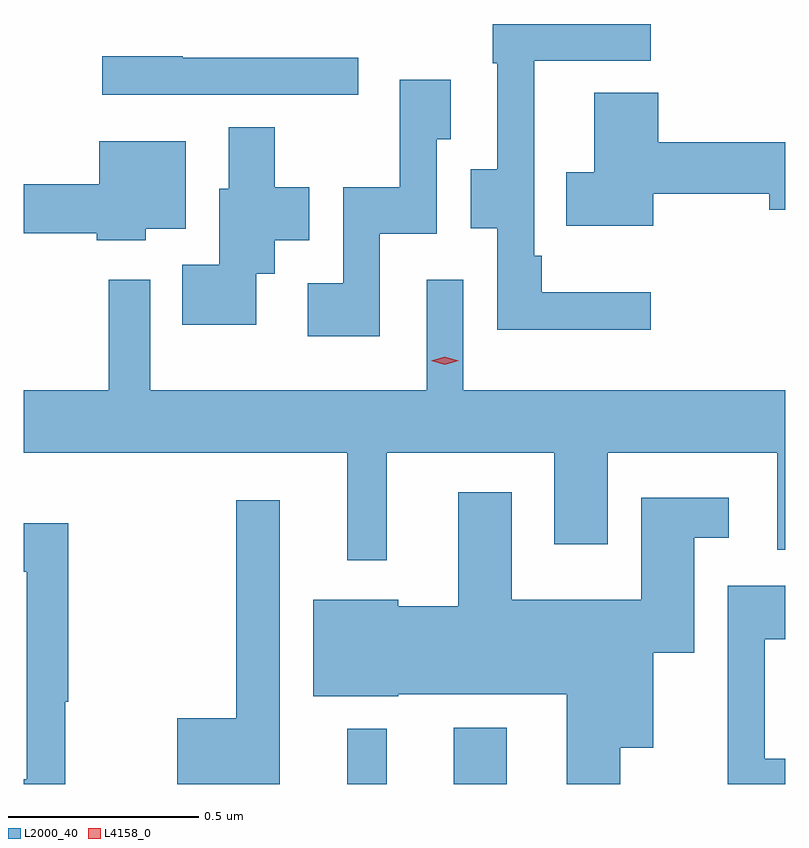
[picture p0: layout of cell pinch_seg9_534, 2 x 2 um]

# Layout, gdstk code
import gdstk
lib = gdstk.Library(unit=1e-6, precision=1e-09)
def R(c, l, rs):  # rectangles x0, y0, x1, y1
    for r in rs: c.add(gdstk.rectangle(r[:2], r[2:], *l))
def P(c, l, *ps):  # polygons
    for p in ps: c.add(gdstk.Polygon(p, *l))
L2000_40 = (2000, 40)
L4158_0 = (4158, 0)

pinch_seg9_534 = lib.new_cell('pinch_seg9_534')
R(pinch_seg9_534, L2000_40, [(366.701,1167.579,366.805,1167.724), (366.98,1167.579,367.12,1167.727)])
P(pinch_seg9_534, L2000_40, [(367.498,1168.87),(367.211,1168.87),(367.211,1168.966),(367.191,1168.966),(367.191,1169.281),(367.192,1169.281),(367.192,1169.478),(367.498,1169.478),(367.498,1169.574),(367.083,1169.574),(367.083,1169.471),(367.095,1169.471),(367.095,1169.193),(367.025,1169.193),(367.025,1169.038),(367.095,1169.038),(367.095,1168.772),(367.498,1168.772)],
  [(366.73,1169.486),(366.269,1169.486),(366.269,1169.489),(366.057,1169.489),(366.057,1169.388),(366.73,1169.388)],
  [(366.786,1169.024),(366.936,1169.024),(366.936,1169.272),(366.973,1169.272),(366.973,1169.428),(366.838,1169.428),(366.838,1169.146),(366.69,1169.146),(366.69,1168.894),(366.597,1168.894),(366.597,1168.754),(366.786,1168.754)],
  [(367.504,1169.128),(367.808,1169.128),(367.808,1169.086),(367.851,1169.086),(367.851,1169.264),(367.517,1169.264),(367.517,1169.393),(367.349,1169.393),(367.349,1169.185),(367.276,1169.185),(367.276,1169.045),(367.504,1169.045)],
  [(366.462,1168.919),(366.511,1168.919),(366.511,1169.006),(366.601,1169.006),(366.601,1169.146),(366.511,1169.146),(366.511,1169.303),(366.389,1169.303),(366.389,1169.142),(366.365,1169.142),(366.365,1168.942),(366.268,1168.942),(366.268,1168.784),(366.462,1168.784)],
  [(366.172,1169.036),(366.277,1169.036),(366.277,1169.266),(366.05,1169.266),(366.05,1169.153),(365.851,1169.153),(365.851,1169.025),(366.043,1169.025),(366.043,1169.006),(366.172,1169.006)],
  [(366.805,1168.448),(367.244,1168.448),(367.244,1168.209),(367.384,1168.209),(367.384,1168.448),(367.829,1168.448),(367.829,1168.194),(367.851,1168.194),(367.851,1168.612),(367.005,1168.612),(367.005,1168.903),(366.909,1168.903),(366.909,1168.612),(366.183,1168.612),(366.183,1168.903),(366.075,1168.903),(366.075,1168.612),(365.851,1168.612),(365.851,1168.448),(366.701,1168.448),(366.701,1168.167),(366.805,1168.167)],
  [(367.417,1167.674),(367.504,1167.674),(367.504,1167.923),(367.612,1167.923),(367.612,1168.226),(367.702,1168.226),(367.702,1168.33),(367.472,1168.33),(367.472,1168.063),(367.132,1168.063),(367.132,1168.345),(366.992,1168.345),(366.992,1168.045),(366.834,1168.045),(366.834,1168.063),(366.611,1168.063),(366.611,1167.809),(366.834,1167.809),(366.834,1167.815),(367.277,1167.815),(367.277,1167.579),(367.417,1167.579)],
  [(366.523,1168.324),(366.409,1168.324),(366.409,1167.751),(366.254,1167.751),(366.254,1167.579),(366.523,1167.579)],
  [(365.96,1167.795),(365.968,1167.795),(365.968,1168.264),(365.851,1168.264),(365.851,1168.136),(365.859,1168.136),(365.859,1167.592),(365.851,1167.592),(365.851,1167.579),(365.96,1167.579)],
  [(367.851,1167.645),(367.797,1167.645),(367.797,1167.959),(367.851,1167.959),(367.851,1168.099),(367.7,1168.099),(367.7,1167.579),(367.851,1167.579)])
P(pinch_seg9_534, L4158_0, [(366.957,1168.68),(366.921,1168.69),(366.921,1168.69),(366.921,1168.69),(366.957,1168.7),(366.993,1168.69),(366.993,1168.69),(366.993,1168.69)])

lib.write_gds('pinch_seg9_534.gds')
